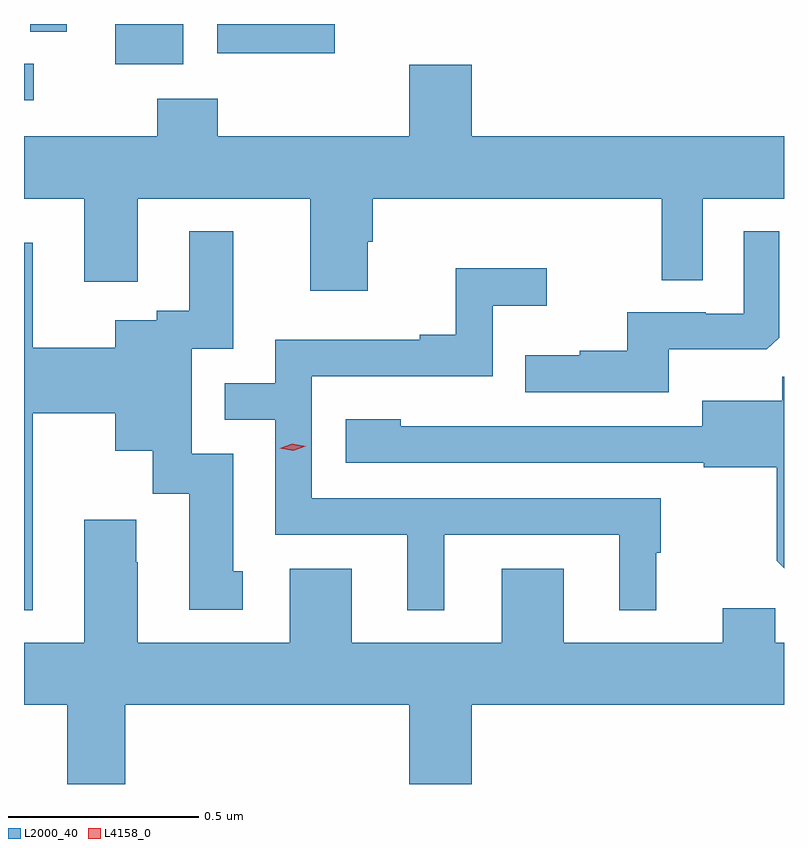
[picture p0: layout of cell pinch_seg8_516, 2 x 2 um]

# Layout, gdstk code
import gdstk
lib = gdstk.Library(unit=1e-6, precision=1e-09)
def R(c, l, rs):  # rectangles x0, y0, x1, y1
    for r in rs: c.add(gdstk.rectangle(r[:2], r[2:], *l))
def P(c, l, *ps):  # polygons
    for p in ps: c.add(gdstk.Polygon(p, *l))
L2000_40 = (2000, 40)
L4158_0 = (4158, 0)

pinch_seg8_516 = lib.new_cell('pinch_seg8_516')
R(pinch_seg8_516, L2000_40, [(223.934,1115.427,223.96,1115.523), (224.174,1115.522,224.353,1115.628), (224.442,1115.551,224.752,1115.628), (223.95,1115.608,224.046,1115.628)])
P(pinch_seg8_516, L2000_40, [(224.839,1115.055),(224.852,1115.055),(224.852,1115.168),(225.612,1115.168),(225.612,1114.954),(225.72,1114.954),(225.72,1115.168),(225.934,1115.168),(225.934,1115.332),(225.112,1115.332),(225.112,1115.521),(224.948,1115.521),(224.948,1115.332),(224.444,1115.332),(224.444,1115.431),(224.284,1115.431),(224.284,1115.332),(223.934,1115.332),(223.934,1115.168),(224.093,1115.168),(224.093,1114.95),(224.233,1114.95),(224.233,1115.168),(224.687,1115.168),(224.687,1114.926),(224.839,1114.926)],
  [(225.631,1114.772),(225.889,1114.772),(225.921,1114.803),(225.921,1115.083),(225.828,1115.083),(225.828,1114.866),(225.728,1114.866),(225.728,1114.869),(225.521,1114.869),(225.521,1114.768),(225.397,1114.768),(225.397,1114.756),(225.253,1114.756),(225.253,1114.659),(225.631,1114.659)],
  [(223.957,1114.604),(224.174,1114.604),(224.174,1114.505),(224.273,1114.505),(224.273,1114.392),(224.369,1114.392),(224.369,1114.086),(224.509,1114.086),(224.509,1114.188),(224.485,1114.188),(224.485,1114.497),(224.376,1114.497),(224.376,1114.773),(224.485,1114.773),(224.485,1115.083),(224.369,1115.083),(224.369,1114.874),(224.283,1114.874),(224.283,1114.849),(224.174,1114.849),(224.174,1114.776),(223.957,1114.776),(223.957,1115.053),(223.934,1115.053),(223.934,1114.085),(223.957,1114.085)],
  [(225.04,1114.284),(225.5,1114.284),(225.5,1114.085),(225.598,1114.085),(225.598,1114.236),(225.61,1114.236),(225.61,1114.38),(224.691,1114.38),(224.691,1114.701),(225.168,1114.701),(225.168,1114.886),(225.31,1114.886),(225.31,1114.985),(225.07,1114.985),(225.07,1114.81),(224.975,1114.81),(224.975,1114.797),(224.595,1114.797),(224.595,1114.683),(224.462,1114.683),(224.462,1114.587),(224.595,1114.587),(224.595,1114.284),(224.942,1114.284),(224.942,1114.085),(225.04,1114.085)],
  [(225.934,1114.7),(225.93,1114.7),(225.93,1114.636),(225.719,1114.636),(225.719,1114.569),(225.161,1114.569),(225.161,1114.57),(224.925,1114.57),(224.925,1114.588),(224.781,1114.588),(224.781,1114.473),(225.723,1114.473),(225.723,1114.461),(225.915,1114.461),(225.915,1114.215),(225.934,1114.196)],
  [(224.201,1113.836),(224.948,1113.836),(224.948,1113.628),(225.112,1113.628),(225.112,1113.836),(225.934,1113.836),(225.934,1114),(225.911,1114),(225.911,1114.091),(225.773,1114.091),(225.773,1114),(225.355,1114),(225.355,1114.195),(225.191,1114.195),(225.191,1114),(224.797,1114),(224.797,1114.195),(224.633,1114.195),(224.633,1114),(224.233,1114),(224.233,1114.211),(224.23,1114.211),(224.23,1114.324),(224.093,1114.324),(224.093,1114),(223.934,1114),(223.934,1113.836),(224.048,1113.836),(224.048,1113.628),(224.201,1113.628)])
P(pinch_seg8_516, L4158_0, [(224.642,1114.505),(224.607,1114.512),(224.606,1114.512),(224.607,1114.512),(224.64,1114.524),(224.675,1114.517),(224.676,1114.517),(224.675,1114.517)])

lib.write_gds('pinch_seg8_516.gds')
